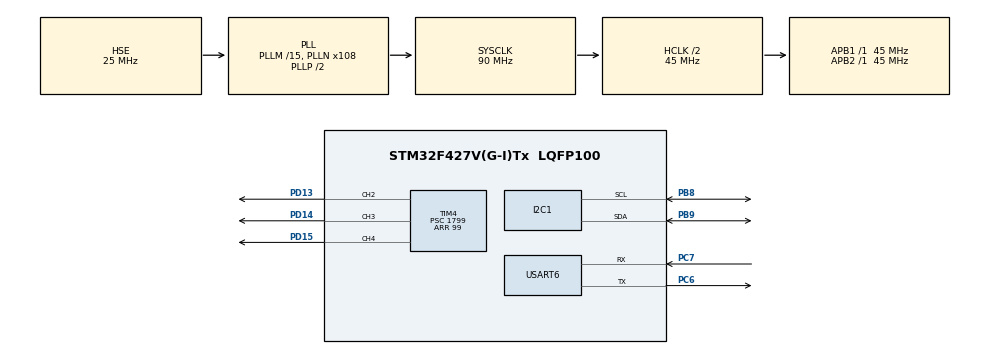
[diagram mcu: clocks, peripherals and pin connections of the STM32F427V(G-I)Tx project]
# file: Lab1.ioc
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I2C1.I2C_Mode=I2C_Standard
Mcu.Family=STM32F4
Mcu.Name=STM32F427V(G-I)Tx
Mcu.Package=LQFP100
NVIC.PriorityGroup=NVIC_PRIORITYGROUP_4
PA13.Mode=JTAG_5_pins
PA13.Signal=SYS_JTMS-SWDIO
PA14.Mode=JTAG_5_pins
PA14.Signal=SYS_JTCK-SWCLK
PA15.Mode=JTAG_5_pins
PA15.Signal=SYS_JTDI
PB3.Mode=JTAG_5_pins
PB3.Signal=SYS_JTDO-SWO
PB4.Mode=JTAG_5_pins
PB4.Signal=SYS_JTRST
PB8.Mode=I2C
PB8.Signal=I2C1_SCL
PB9.Mode=I2C
PB9.Signal=I2C1_SDA
PC6.Mode=Asynchronous
PC6.Signal=USART6_TX
PC7.Mode=Asynchronous
PC7.Signal=USART6_RX
PD13.Signal=S_TIM4_CH2
PD14.Signal=S_TIM4_CH3
PD15.Signal=S_TIM4_CH4
PH0/OSC_IN.Mode=HSE-External-Oscillator
PH0/OSC_IN.Signal=RCC_OSC_IN
PH1/OSC_OUT.Mode=HSE-External-Oscillator
PH1/OSC_OUT.Signal=RCC_OSC_OUT
ProjectManager.HeapSize=0x200
ProjectManager.StackSize=0x400
ProjectManager.TargetToolchain=STM32CubeIDE
RCC.48MHZClocksFreq_Value=45000000
RCC.AHBCLKDivider=RCC_SYSCLK_DIV2
RCC.AHBFreq_Value=45000000
RCC.APB1Freq_Value=45000000
RCC.APB1TimFreq_Value=45000000
RCC.APB2Freq_Value=45000000
RCC.APB2TimFreq_Value=45000000
RCC.CortexFreq_Value=45000000
RCC.HCLKFreq_Value=45000000
RCC.HSE_VALUE=25000000
RCC.HSI_VALUE=16000000
RCC.LSE_VALUE=32768
RCC.PLLM=15
RCC.PLLN=108
RCC.PLLSourceVirtual=RCC_PLLSOURCE_HSE
RCC.SYSCLKFreq_VALUE=90000000
RCC.SYSCLKSource=RCC_SYSCLKSOURCE_PLLCLK
RCC.VCOOutputFreq_Value=180000000
SH.S_TIM4_CH2.0=TIM4_CH2,PWM Generation2 CH2
SH.S_TIM4_CH3.0=TIM4_CH3,PWM Generation3 CH3
SH.S_TIM4_CH4.0=TIM4_CH4,PWM Generation4 CH4
TIM4.Channel-PWM\ Generation2\ CH2=TIM_CHANNEL_2
TIM4.Channel-PWM\ Generation3\ CH3=TIM_CHANNEL_3
TIM4.Channel-PWM\ Generation4\ CH4=TIM_CHANNEL_4
TIM4.Period=99
TIM4.Prescaler=1799
USART6.VirtualMode=VM_ASYNC
board=custom

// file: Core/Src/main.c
/* USER CODE BEGIN Header */
/**
  ******************************************************************************
  * @file           : main.c
  * @brief          : Main program body
  ******************************************************************************
  * @attention
  *
  * Copyright (c) 2024 STMicroelectronics.
  * All rights reserved.
  *
  * This software is licensed under terms that can be found in the LICENSE file
  * in the root directory of this software component.
  * If no LICENSE file comes with this software, it is provided AS-IS.
  *
  ******************************************************************************
  */
/* USER CODE END Header */
#include "main.h"
#include "i2c.h"
#include "tim.h"
#include "usart.h"
#include "gpio.h"

/* USER CODE BEGIN Includes */
#include "stdio.h"
#include "usart.h"
#include "io.h"
#include "imp.h"

/* USER CODE END Includes */

void SystemClock_Config(void);

/* USER CODE BEGIN 0 */
//extern void initialise_monitor_handles(void);
/* USER CODE END 0 */

int main(void)
{

  /* USER CODE BEGIN 1 */
//	initialise_monitor_handles();
  /* USER CODE END 1 */

  /* MCU Configuration--------------------------------------------------------*/

  /* Reset of all peripherals, Initializes the Flash interface and the Systick. */
  HAL_Init();

  /* Configure the system clock */
  SystemClock_Config();

  /* Initialize all configured peripherals */
  MX_GPIO_Init();
  MX_USART6_UART_Init();
  MX_TIM4_Init();
  MX_I2C1_Init();
  /* USER CODE BEGIN 2 */
  initialize_settings();
  DisableIRQ();
  HAL_TIM_PWM_Start(&htim4, TIM_CHANNEL_2);
  HAL_TIM_PWM_Start(&htim4, TIM_CHANNEL_3);
  HAL_TIM_PWM_Start(&htim4, TIM_CHANNEL_4);
//  HAL_I2C_Init(&hi2c1); // Initialize I2C interface
  SendString("\r\nСтарт.\r\n");

//  InitKeyboard();
  /* USER CODE END 2 */

  /* Infinite loop */
  /* USER CODE BEGIN WHILE */
  while (1) {
      // Check for mode switch button press
      if (CheckModeSwitchButton()) {
          ToggleMode();
      }

      // Read buttons via I2C
      uint8_t button_code = ReadButtons();

      if (current_mode == TEST_MODE) {
          if (button_code != 0) {
              char message[50];
              sprintf(message, "Нажата кнопка с кодом %d\r\n", button_code);
              SendString(message);
          }
      } else if (current_mode == APPLICATION_MODE) {
          ProcessButtonInput(button_code);
      }
  }
    /* USER CODE END WHILE */

}

void SystemClock_Config(void)
{
  RCC_OscInitTypeDef RCC_OscInitStruct = {0};
  RCC_ClkInitTypeDef RCC_ClkInitStruct = {0};

  /** Configure the main internal regulator output voltage
  */
  __HAL_RCC_PWR_CLK_ENABLE();
  __HAL_PWR_VOLTAGESCALING_CONFIG(PWR_REGULATOR_VOLTAGE_SCALE3);

  /** Initializes the RCC Oscillators according to the specified parameters
  * in the RCC_OscInitTypeDef structure.
  */
  RCC_OscInitStruct.OscillatorType = RCC_OSCILLATORTYPE_HSE;
  RCC_OscInitStruct.HSEState = RCC_HSE_ON;
  RCC_OscInitStruct.PLL.PLLState = RCC_PLL_ON;
  RCC_OscInitStruct.PLL.PLLSource = RCC_PLLSOURCE_HSE;
  RCC_OscInitStruct.PLL.PLLM = 15;
  RCC_OscInitStruct.PLL.PLLN = 108;
  RCC_OscInitStruct.PLL.PLLP = RCC_PLLP_DIV2;
  RCC_OscInitStruct.PLL.PLLQ = 4;
  if (HAL_RCC_OscConfig(&RCC_OscInitStruct) != HAL_OK)
  {
    Error_Handler();
  }

  /** Activate the Over-Drive mode
  */
  if (HAL_PWREx_EnableOverDrive() != HAL_OK)
  {
    Error_Handler();
  }

  /** Initializes the CPU, AHB and APB buses clocks
  */
  RCC_ClkInitStruct.ClockType = RCC_CLOCKTYPE_HCLK|RCC_CLOCKTYPE_SYSCLK
                              |RCC_CLOCKTYPE_PCLK1|RCC_CLOCKTYPE_PCLK2;
  RCC_ClkInitStruct.SYSCLKSource = RCC_SYSCLKSOURCE_PLLCLK;
  RCC_ClkInitStruct.AHBCLKDivider = RCC_SYSCLK_DIV2;
  RCC_ClkInitStruct.APB1CLKDivider = RCC_HCLK_DIV1;
  RCC_ClkInitStruct.APB2CLKDivider = RCC_HCLK_DIV1;

  if (HAL_RCC_ClockConfig(&RCC_ClkInitStruct, FLASH_LATENCY_1) != HAL_OK)
  {
    Error_Handler();
  }
}

void Error_Handler(void)
{
  __disable_irq();
  while (1)
  {
  }
}
